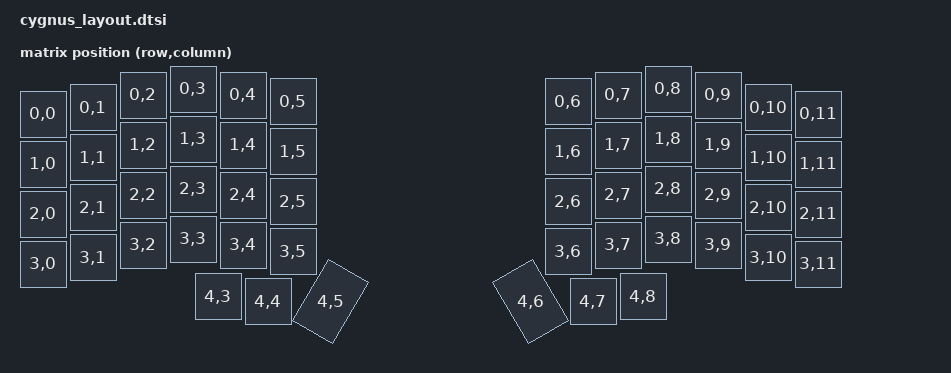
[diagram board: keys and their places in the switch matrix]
/*
 * Shared matrix transform and physical layout for the Cygnus (Cygnus) keyboard.
 *
 * Included by every part of the keyboard: both halves and the dongle. ZMK
 * requires all parts to declare the exact same matrix transform and physical
 * layout, and ZMK Studio reads the physical layout from whichever part is
 * central -- with a dongle, that is the dongle.
 *
 * SPDX-License-Identifier: MIT
 */

#include <dt-bindings/zmk/matrix_transform.h>
#include <physical_layouts.dtsi>

#define RC(r,c) (((r) * 16) + (c))

/ {
    chosen {
        zmk,physical-layout = &my_custom_layout;
    };

    default_transform: keymap_transform_0 {
        compatible = "zmk,matrix-transform"; 
        columns = <16>;
        rows = <5>;
// | SW6  | SW5  | SW4  | SW3  | SW2  | SW1  |                 | SW1  | SW2  | SW3  | SW4  | SW5  | SW6  |
// | SW12 | SW11 | SW10 | SW9  | SW8  | SW7  |                 | SW7  | SW8  | SW9  | SW10 | SW11 | SW12 |
// | SW18 | SW17 | SW16 | SW15 | SW14 | SW13 |                 | SW13 | SW14 | SW15 | SW16 | SW17 | SW18 |
// | SW24 | SW23 | SW22 | SW21 | SW20 | SW19 | SW25 |   | SW25 | SW19 | SW20 | SW21 | SW22 | SW23 | SW24 |
//                      | SW29 | SW28 | SW27 | SW26 |   | SW26 | SW27 | SW28 | SW29 |
        map = <
        RC(0,0) RC(0,1) RC(0,2) RC(0,3) RC(0,4) RC(0,5) RC(0,6) RC(0,7) RC(0,8) RC(0,9) RC(0,10) RC(0,11)
        RC(1,0) RC(1,1) RC(1,2) RC(1,3) RC(1,4) RC(1,5) RC(1,6) RC(1,7) RC(1,8) RC(1,9) RC(1,10) RC(1,11)
        RC(2,0) RC(2,1) RC(2,2) RC(2,3) RC(2,4) RC(2,5) RC(2,6) RC(2,7) RC(2,8) RC(2,9) RC(2,10) RC(2,11)
        RC(3,0) RC(3,1) RC(3,2) RC(3,3) RC(3,4) RC(3,5) RC(4,5) RC(4,6) RC(3,6) RC(3,7) RC(3,8) RC(3,9)
        RC(3,10) RC(3,11) RC(4,3) RC(4,4) RC(4,7) RC(4,8)
        >;
    };

    my_custom_layout: my_custom_layout {
        compatible = "zmk,physical-layout";
        display-name = "Cygnus 4x6";
        transform = <&default_transform>;
        keys
            = <&key_physical_attrs 100 100    0   50       0     0     0>, <&key_physical_attrs 100 100  100   37       0     0     0>, <&key_physical_attrs 100 100  200   12       0     0     0>, <&key_physical_attrs 100 100  300    0       0     0     0>, <&key_physical_attrs 100 100  400   12       0     0     0>, <&key_physical_attrs 100 100  500   25       0     0     0>, 
            <&key_physical_attrs 100 100 1050   25       0     0     0>, <&key_physical_attrs 100 100 1150   12       0     0     0>, <&key_physical_attrs 100 100 1250    0       0     0     0>, <&key_physical_attrs 100 100 1350   12       0     0     0>, <&key_physical_attrs 100 100 1450   37       0     0     0>, <&key_physical_attrs 100 100 1550   50       0     0     0>, 
            <&key_physical_attrs 100 100    0  150       0     0     0>, <&key_physical_attrs 100 100  100  137       0     0     0>, <&key_physical_attrs 100 100  200  112       0     0     0>, <&key_physical_attrs 100 100  300  100       0     0     0>, <&key_physical_attrs 100 100  400  112       0     0     0>, <&key_physical_attrs 100 100  500  125       0     0     0>, 
            <&key_physical_attrs 100 100 1050  125       0     0     0>, <&key_physical_attrs 100 100 1150  112       0     0     0>, <&key_physical_attrs 100 100 1250  100       0     0     0>, <&key_physical_attrs 100 100 1350  112       0     0     0>, <&key_physical_attrs 100 100 1450  137       0     0     0>, <&key_physical_attrs 100 100 1550  150       0     0     0>, 
            <&key_physical_attrs 100 100    0  250       0     0     0>, <&key_physical_attrs 100 100  100  237       0     0     0>, <&key_physical_attrs 100 100  200  212       0     0     0>, <&key_physical_attrs 100 100  300  200       0     0     0>, <&key_physical_attrs 100 100  400  212       0     0     0>, <&key_physical_attrs 100 100  500  225       0     0     0>, 
            <&key_physical_attrs 100 100 1050  225       0     0     0>, <&key_physical_attrs 100 100 1150  212       0     0     0>, <&key_physical_attrs 100 100 1250  200       0     0     0>, <&key_physical_attrs 100 100 1350  212       0     0     0>, <&key_physical_attrs 100 100 1450  237       0     0     0>, <&key_physical_attrs 100 100 1550  250       0     0     0>, 
            <&key_physical_attrs 100 100    0  350       0     0     0>, <&key_physical_attrs 100 100  100  337       0     0     0>, <&key_physical_attrs 100 100  200  312       0     0     0>, <&key_physical_attrs 100 100  300  300       0     0     0>, <&key_physical_attrs 100 100  400  312       0     0     0>, <&key_physical_attrs 100 100  500  325       0     0     0>, 
            <&key_physical_attrs 100 150  575  400    3000   625   475>, <&key_physical_attrs 100 150  975  400 (-3000)  1025   475>, <&key_physical_attrs 100 100 1050  325       0     0     0>, <&key_physical_attrs 100 100 1150  312       0     0     0>, <&key_physical_attrs 100 100 1250  300       0     0     0>, <&key_physical_attrs 100 100 1350  312       0     0     0>, 
            <&key_physical_attrs 100 100 1450  337       0     0     0>, <&key_physical_attrs 100 100 1550  350       0     0     0>, <&key_physical_attrs 100 100  350  415       0     0     0>, <&key_physical_attrs 100 100  450  425       0     0     0>, <&key_physical_attrs 100 100 1100  425       0     0     0>, <&key_physical_attrs 100 100 1200  415       0     0     0>;
    };
};
